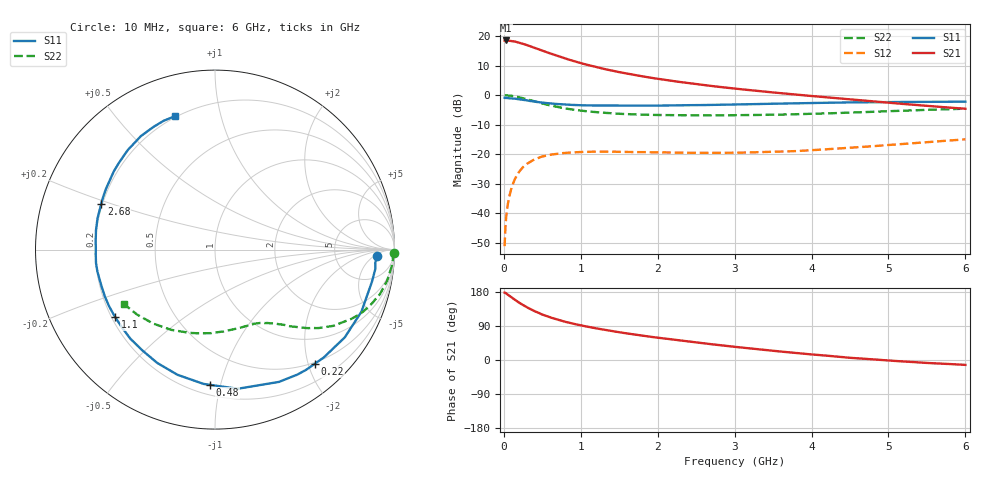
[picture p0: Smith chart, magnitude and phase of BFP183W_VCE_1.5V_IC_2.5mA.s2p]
! Infineon Technologies  Discrete & RF Semiconductors
! BFP183W
! VCE = 1.5 V,  IC =  2.5 mA
! Common Emitter S-Parameters:  Jan 2016
# GHz  S  MA  R  50
!  f  S11  S21  S12  S22
! GHz  MAG  ANG  MAG  ANG  MAG  ANG  MAG  ANG
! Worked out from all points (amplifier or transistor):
!   210 points, 10 MHz to 6 GHz, reference 50 ohm
!   highest |S21| = 18.5 dB at 30 MHz (marker M1)
!   |S21| within 3 dB of that: start of sweep to 454.7 MHz
!   unconditionally stable (mu >= 1): 2.186 GHz to end of sweep
!   at 185 MHz: K = 0.10, MSG = 22.2 dB, |S12| = -26.5 dB
!   at 1.52 GHz: K = 0.72, MSG = 13.4 dB, |S12| = -19.2 dB
!   at 6 GHz: K = 1.05, MAG = 3.8 dB, |S12| = -14.9 dB
!   S11 on the Smith chart (normalised r, x): 10 MHz: 17, -7; 220 MHz: 0.48, -2.12; 480 MHz: 0.27, -0.93; 1.1 GHz: 0.21, -0.29; 2.68 GHz: 0.19, +0.19; 6 GHz: 0.19, +0.72
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0.01  0.9018 -2.4  8.349 177.8  0.0028 87.9  0.9955 -1.0
0.02  0.896 -4.8  8.368 177.2  0.0057 84.8  0.9894 -2.1
0.03  0.8997 -6.9  8.413 175.7  0.0086 88.6  0.9933 -3.1
0.075  0.885 -17.3  8.281 169.0  0.0204 79.2  0.9813 -7.7
0.15  0.8729 -34.1  8.033 157.9  0.0397 71.0  0.9521 -15.1
0.2  0.8535 -44.8  7.727 151.1  0.0508 65.1  0.9214 -19.4
0.22  0.845 -48.8  7.591 148.8  0.0548 62.9  0.9078 -21.0
0.3  0.8187 -64.2  7.034 138.9  0.069 55.0  0.8525 -26.9
0.4  0.7856 -80.7  6.338 128.8  0.0825 46.9  0.7843 -32.8
0.48  0.7541 -92.0  5.793 121.8  0.0899 41.7  0.7361 -36.2
0.6  0.7281 -106.7  5.091 112.6  0.0983 35.2  0.6719 -40.6
0.7  0.7088 -117.0  4.607 106.3  0.1028 31.1  0.6306 -43.2
0.84  0.6876 -128.9  4.009 98.8  0.1066 26.6  0.5854 -46.4
1.02  0.6744 -141.3  3.418 90.6  0.1096 22.1  0.5442 -49.7
1.1  0.6715 -146.1  3.219 87.3  0.1103 20.7  0.5302 -51.0
1.42  0.6643 -161.9  2.576 75.8  0.1109 16.2  0.4935 -56.0
2.02  0.6664 176.0  1.875 58.3  0.1079 14.2  0.4618 -65.7
2.68  0.6832 158.1  1.44 42.1  0.1059 16.4  0.4556 -77.9
3.1  0.6989 148.4  1.253 32.8  0.107 19.2  0.4594 -86.4
4.1  0.7402 129.4  0.943 13.1  0.1195 27.0  0.4877 -109.1
5.1  0.7659 115.6  0.727 -2.7  0.1465 31.2  0.5414 -132.1
6  0.7762 106.8  0.589 -12.9  0.1793 30.9  0.5917 -149.3
